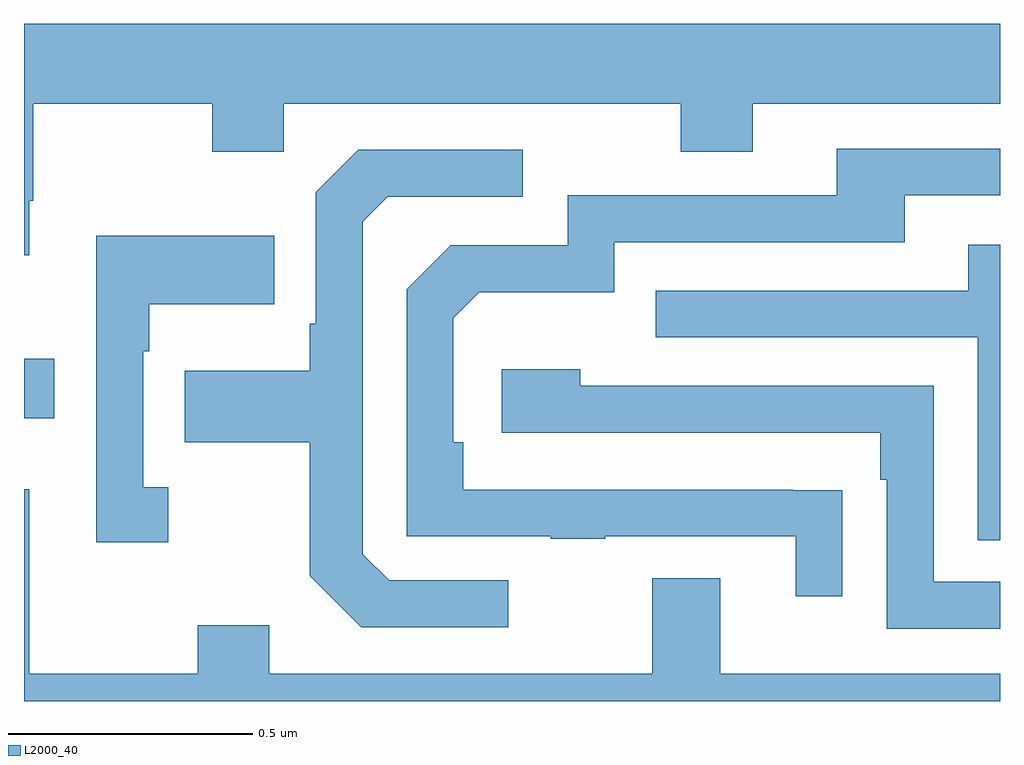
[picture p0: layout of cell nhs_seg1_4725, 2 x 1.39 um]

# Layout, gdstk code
import gdstk
lib = gdstk.Library(unit=1e-6, precision=1e-09)
def R(c, l, rs):  # rectangles x0, y0, x1, y1
    for r in rs: c.add(gdstk.rectangle(r[:2], r[2:], *l))
def P(c, l, *ps):  # polygons
    for p in ps: c.add(gdstk.Polygon(p, *l))
L2000_40 = (2000, 40)

nhs_seg1_4725 = lib.new_cell('nhs_seg1_4725')
R(nhs_seg1_4725, L2000_40, [(170,525.779,170.062,525.901)])
P(nhs_seg1_4725, L2000_40, [(170.011,526.225),(170.019,526.225),(170.019,526.424),(170.386,526.424),(170.386,526.325),(170.532,526.325),(170.532,526.424),(171.346,526.424),(171.346,526.325),(171.493,526.325),(171.493,526.424),(172,526.424),(172,526.588),(170,526.588),(170,526.113),(170.011,526.113)],
  [(171.677,525.632),(171.575,525.632),(171.575,525.633),(170.9,525.633),(170.9,525.73),(170.88,525.73),(170.88,525.984),(170.933,526.037),(171.21,526.037),(171.21,526.14),(171.805,526.14),(171.805,526.236),(172,526.236),(172,526.332),(171.665,526.332),(171.665,526.236),(171.114,526.236),(171.114,526.134),(170.874,526.134),(170.784,526.044),(170.784,525.537),(171.079,525.537),(171.079,525.532),(171.191,525.532),(171.191,525.537),(171.581,525.537),(171.581,525.414),(171.677,525.414)],
  [(170.992,525.447),(170.748,525.447),(170.694,525.501),(170.694,526.182),(170.745,526.233),(171.022,526.233),(171.022,526.329),(170.685,526.329),(170.598,526.242),(170.598,525.973),(170.586,525.973),(170.586,525.877),(170.329,525.877),(170.329,525.73),(170.586,525.73),(170.586,525.457),(170.691,525.351),(170.992,525.351)],
  [(170.296,525.638),(170.244,525.638),(170.244,525.917),(170.257,525.917),(170.257,526.013),(170.513,526.013),(170.513,526.153),(170.148,526.153),(170.148,525.525),(170.296,525.525)],
  [(172,526.135),(171.935,526.135),(171.935,526.041),(171.295,526.041),(171.295,525.945),(171.954,525.945),(171.954,525.529),(172,525.529)],
  [(172,525.444),(171.864,525.444),(171.864,525.846),(171.14,525.846),(171.14,525.88),(170.979,525.88),(170.979,525.75),(171.755,525.75),(171.755,525.653),(171.768,525.653),(171.768,525.348),(172,525.348)],
  [(172,525.256),(171.427,525.256),(171.427,525.451),(171.287,525.451),(171.287,525.256),(170.503,525.256),(170.503,525.355),(170.356,525.355),(170.356,525.256),(170.011,525.256),(170.011,525.634),(170,525.634),(170,525.199),(172,525.199)])

lib.write_gds('nhs_seg1_4725.gds')
